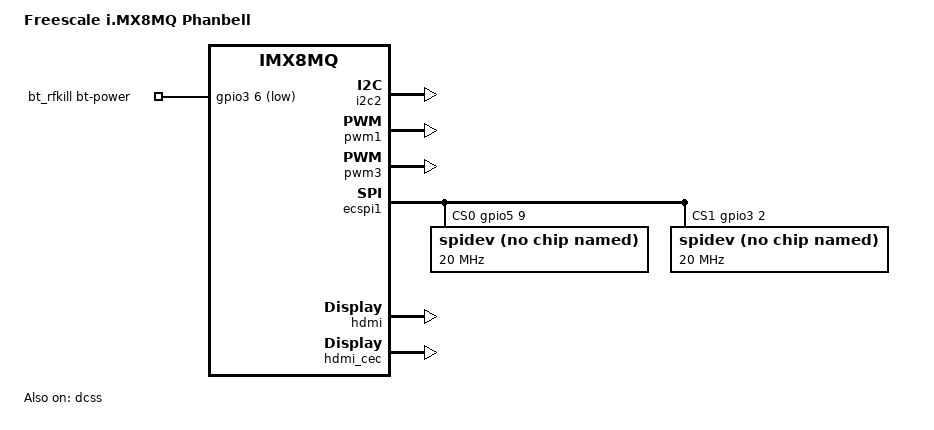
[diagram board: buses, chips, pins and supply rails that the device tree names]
/*
 * Copyright 2018 NXP
 *
 * This program is free software; you can redistribute it and/or
 * modify it under the terms of the GNU General Public License
 * as published by the Free Software Foundation; either version 2
 * of the License, or (at your option) any later version.
 *
 * This program is distributed in the hope that it will be useful,
 * but WITHOUT ANY WARRANTY; without even the implied warranty of
 * MERCHANTABILITY or FITNESS FOR A PARTICULAR PURPOSE.  See the
 * GNU General Public License for more details.
 */

#include "fsl-imx8mq-som.dtsi"

/ {
	firmware {
		android {
			compatible = "android,firmware";
			fstab {
				compatible = "android,fstab";
				vendor {
					compatible = "android,vendor";
					/* if sd, then dev = "/dev/block/platform/30b50000.usdhc/by-name/vendor"; */
					dev = "/dev/block/platform/30b40000.usdhc/by-name/vendor";
					type = "ext4";
					mnt_flags = "ro,barrier=1,inode_readahead_blks=8";
					fsmgr_flags = "wait,slotselect,avb";
				};
			};
			vbmeta {
				/*we need use FirstStageMountVBootV2 if we enable avb*/
				compatible = "android,vbmeta";
				/*parts means the partition witch can be mount in first stage*/
				parts = "vbmeta,boot,system,vendor";
			};
		};
	};
};

/ {
	model = "Freescale i.MX8MQ Phanbell";
	compatible = "fsl,imx8mq-phanbell", "fsl,imx8mq";

	bt_rfkill {
		compatible = "fsl,mxc_bt_rfkill";
		bt-power-gpios = <&gpio3 6 GPIO_ACTIVE_LOW>;
		status ="okay";
	};
};

&i2c2 {
	status = "ok";
};

&pwm1 {
	pinctrl-names = "default";
	pinctrl-0 = <&pinctrl_pwm1>;
	status = "okay";
};

&pwm3 {
	pinctrl-names = "default";
	pinctrl-0 = <&pinctrl_pwm3>;
	status = "okay";
};

&ecspi1 {
	fsl,spi-num-chipselects = <2>;
	pinctrl-names = "default";
	pinctrl-0 = <&pinctrl_ecspi1 &pinctrl_ecspi1_cs>;
	cs-gpios = <&gpio5 9 GPIO_ACTIVE_HIGH>,
		   <&gpio3 2 GPIO_ACTIVE_HIGH>;
	status = "okay";

	spidev@0 {
		#address-cells = <1>;
		#size-cells = <1>;
		compatible = "rohm,dh2228fv";
		spi-max-frequency = <20000000>;
		reg = <0>;
		status = "okay";
	};
	spidev@1 {
		#address-cells = <1>;
		#size-cells = <1>;
		compatible = "rohm,dh2228fv";
		spi-max-frequency = <20000000>;
		reg = <1>;
		status = "okay";
	};

};

&iomuxc {
	pinctrl-names = "default";
	pinctrl-1 = <&pinctrl_gpio>;

	imx8mq-phanbell {
		pinctrl_gpio: gpio_ctrlgrp{
			fsl,pins = <
				MX8MQ_IOMUXC_GPIO1_IO06_GPIO1_IO6		0x19
				MX8MQ_IOMUXC_GPIO1_IO07_GPIO1_IO7		0x19
				MX8MQ_IOMUXC_GPIO1_IO08_GPIO1_IO8		0x19
				MX8MQ_IOMUXC_SAI5_RXD1_GPIO3_IO22		0x19
				MX8MQ_IOMUXC_SAI5_RXD3_GPIO3_IO24		0x19
				MX8MQ_IOMUXC_SAI1_RXD0_GPIO4_IO2		0x19
				MX8MQ_IOMUXC_SAI1_TXFS_GPIO4_IO10		0x19
				MX8MQ_IOMUXC_SAI1_TXC_GPIO4_IO11		0x19
				MX8MQ_IOMUXC_SAI1_TXD0_GPIO4_IO12		0x19
				MX8MQ_IOMUXC_ECSPI2_SCLK_GPIO5_IO10		0x19
				MX8MQ_IOMUXC_ECSPI2_MISO_GPIO5_IO12		0x19
				MX8MQ_IOMUXC_ECSPI2_SS0_GPIO5_IO13		0x19
			>;
		};
		pinctrl_pwm1: pwm1 {
			fsl,pins = <
				MX8MQ_IOMUXC_GPIO1_IO01_PWM1_OUT		0x7f
			>;
		};
		pinctrl_pwm3: pwm3 {
			fsl,pins = <
				MX8MQ_IOMUXC_GPIO1_IO14_PWM3_OUT		0x7f
			>;
		};
		pinctrl_ecspi1: ecspi1grp {
			fsl,pins = <
				MX8MQ_IOMUXC_ECSPI1_SCLK_ECSPI1_SCLK		0x82
				MX8MQ_IOMUXC_ECSPI1_MOSI_ECSPI1_MOSI		0x82
				MX8MQ_IOMUXC_ECSPI1_MISO_ECSPI1_MISO		0x82
			>;
		};
		pinctrl_ecspi1_cs: ecspi1_cs_grp {
			fsl,pins = <
				MX8MQ_IOMUXC_ECSPI1_SS0_GPIO5_IO9		0x82
				MX8MQ_IOMUXC_NAND_CE1_B_GPIO3_IO2		0x82
			>;
		};
	};
};
&hdmi {
	status = "okay";
};

&hdmi_cec {
	status = "okay";
};

&dcss {
	disp-dev = "hdmi_disp";
	status = "okay";
};
